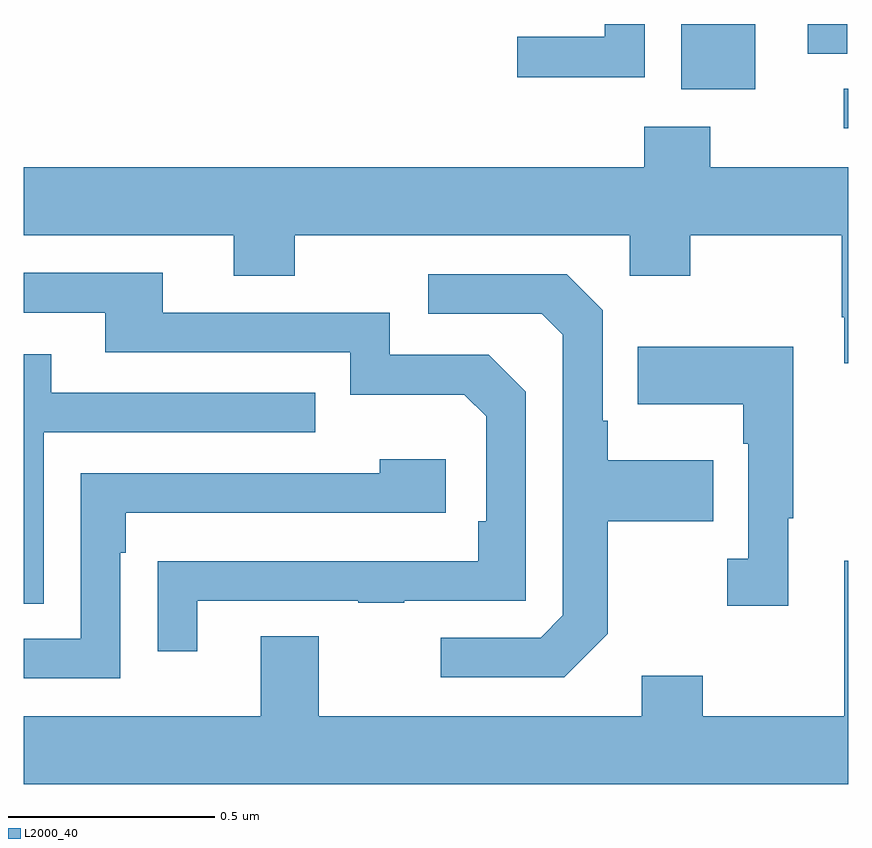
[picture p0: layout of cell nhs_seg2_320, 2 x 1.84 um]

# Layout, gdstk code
import gdstk
lib = gdstk.Library(unit=1e-6, precision=1e-09)
def R(c, l, rs):  # rectangles x0, y0, x1, y1
    for r in rs: c.add(gdstk.rectangle(r[:2], r[2:], *l))
def P(c, l, *ps):  # polygons
    for p in ps: c.add(gdstk.Polygon(p, *l))
L2000_40 = (2000, 40)

nhs_seg2_320 = lib.new_cell('nhs_seg2_320')
R(nhs_seg2_320, L2000_40, [(115.989,662.547,116,662.643), (115.595,662.642,115.774,662.8), (115.902,662.728,115.998,662.8)])
P(nhs_seg2_320, L2000_40, [(115.506,662.8),(115.41,662.8),(115.41,662.769),(115.197,662.769),(115.197,662.671),(115.506,662.671)],
  [(116,662.452),(115.665,662.452),(115.665,662.551),(115.505,662.551),(115.505,662.452),(114,662.452),(114,662.288),(114.509,662.288),(114.509,662.189),(114.657,662.189),(114.657,662.288),(115.47,662.288),(115.47,662.189),(115.617,662.189),(115.617,662.288),(115.984,662.288),(115.984,662.089),(115.991,662.089),(115.991,661.977),(116,661.977)],
  [(114.421,661.401),(114.811,661.401),(114.811,661.396),(114.923,661.396),(114.923,661.401),(115.218,661.401),(115.218,661.908),(115.128,661.998),(114.888,661.998),(114.888,662.1),(114.337,662.1),(114.337,662.196),(114,662.196),(114,662.1),(114.197,662.1),(114.197,662.004),(114.792,662.004),(114.792,661.901),(115.069,661.901),(115.122,661.848),(115.122,661.594),(115.102,661.594),(115.102,661.497),(114.427,661.497),(114.427,661.496),(114.325,661.496),(114.325,661.278),(114.421,661.278)],
  [(115.417,661.321),(115.417,661.594),(115.673,661.594),(115.673,661.741),(115.417,661.741),(115.417,661.837),(115.404,661.837),(115.404,662.106),(115.317,662.193),(114.981,662.193),(114.981,662.097),(115.257,662.097),(115.308,662.046),(115.308,661.365),(115.254,661.311),(115.011,661.311),(115.011,661.215),(115.311,661.215)],
  [(115.855,661.601),(115.867,661.601),(115.867,662.017),(115.489,662.017),(115.489,661.877),(115.746,661.877),(115.746,661.781),(115.758,661.781),(115.758,661.502),(115.707,661.502),(115.707,661.389),(115.855,661.389)],
  [(114.048,661.809),(114.707,661.809),(114.707,661.905),(114.067,661.905),(114.067,661.999),(114,661.999),(114,661.393),(114.048,661.393)],
  [(114.234,661.517),(114.247,661.517),(114.247,661.614),(115.024,661.614),(115.024,661.744),(114.863,661.744),(114.863,661.71),(114.138,661.71),(114.138,661.308),(114,661.308),(114,661.212),(114.234,661.212)],
  [(116,661.498),(115.991,661.498),(115.991,661.12),(115.647,661.12),(115.647,661.219),(115.499,661.219),(115.499,661.12),(114.715,661.12),(114.715,661.315),(114.575,661.315),(114.575,661.12),(114,661.12),(114,660.956),(116,660.956)])

lib.write_gds('nhs_seg2_320.gds')
